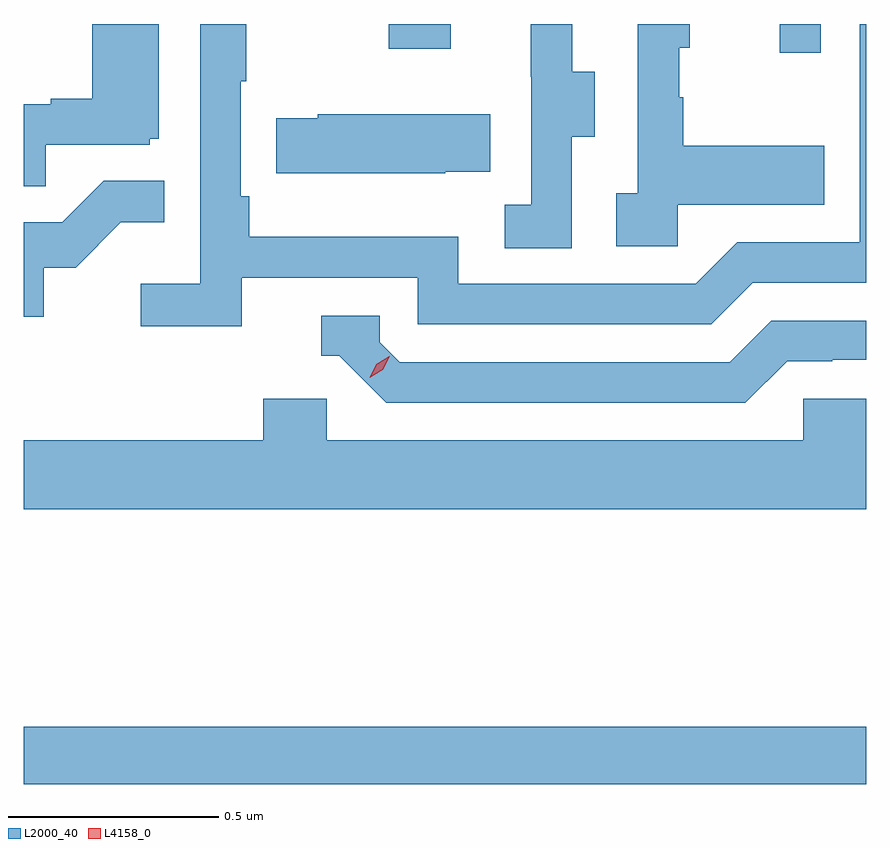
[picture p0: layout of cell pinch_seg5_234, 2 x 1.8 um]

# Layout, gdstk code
import gdstk
lib = gdstk.Library(unit=1e-6, precision=1e-09)
def R(c, l, rs):  # rectangles x0, y0, x1, y1
    for r in rs: c.add(gdstk.rectangle(r[:2], r[2:], *l))
def P(c, l, *ps):  # polygons
    for p in ps: c.add(gdstk.Polygon(p, *l))
L2000_40 = (2000, 40)
L4158_0 = (4158, 0)

pinch_seg5_234 = lib.new_cell('pinch_seg5_234')
R(pinch_seg5_234, L2000_40, [(974.593,902.728,976.593,902.864), (976.388,904.464,976.485,904.532), (975.46,904.473,975.607,904.532)])
P(pinch_seg5_234, L2000_40, [(974.645,904.245),(974.892,904.245),(974.892,904.26),(974.914,904.26),(974.914,904.532),(974.756,904.532),(974.756,904.354),(974.657,904.354),(974.657,904.341),(974.593,904.341),(974.593,904.147),(974.645,904.147)],
  [(976.146,904.103),(976.493,904.103),(976.493,904.243),(976.159,904.243),(976.159,904.358),(976.149,904.358),(976.149,904.476),(976.174,904.476),(976.174,904.532),(976.05,904.532),(976.05,904.13),(975.999,904.13),(975.999,904.005),(976.146,904.005)],
  [(975.11,903.93),(975.528,903.93),(975.528,903.819),(976.225,903.819),(976.324,903.918),(976.593,903.918),(976.593,904.532),(976.578,904.532),(976.578,904.014),(976.287,904.014),(976.188,903.915),(975.624,903.915),(975.624,904.027),(975.128,904.027),(975.128,904.123),(975.108,904.123),(975.108,904.396),(975.121,904.396),(975.121,904.532),(975.012,904.532),(975.012,903.916),(974.871,903.916),(974.871,903.814),(975.11,903.814)],
  [(975.894,904.264),(975.949,904.264),(975.949,904.419),(975.895,904.419),(975.895,904.532),(975.797,904.532),(975.797,904.407),(975.798,904.407),(975.798,904.103),(975.735,904.103),(975.735,904),(975.894,904)],
  [(975.593,904.181),(975.701,904.181),(975.701,904.318),(975.291,904.318),(975.291,904.308),(975.193,904.308),(975.193,904.178),(975.593,904.178)],
  [(974.64,903.954),(974.716,903.954),(974.823,904.061),(974.927,904.061),(974.927,904.16),(974.783,904.16),(974.685,904.062),(974.593,904.062),(974.593,903.837),(974.64,903.837)],
  [(976.405,903.732),(976.512,903.732),(976.512,903.735),(976.593,903.735),(976.593,903.828),(976.368,903.828),(976.269,903.729),(975.486,903.729),(975.438,903.777),(975.438,903.84),(975.299,903.84),(975.299,903.744),(975.342,903.744),(975.453,903.633),(976.306,903.633)],
  [(976.593,903.642),(976.443,903.642),(976.443,903.544),(975.312,903.544),(975.312,903.642),(975.161,903.642),(975.161,903.544),(974.593,903.544),(974.593,903.38),(976.593,903.38)])
P(pinch_seg5_234, L4158_0, [(975.414,903.692),(975.414,903.692),(975.43,903.724),(975.461,903.743),(975.462,903.743),(975.462,903.743),(975.445,903.711),(975.414,903.692)])

lib.write_gds('pinch_seg5_234.gds')
